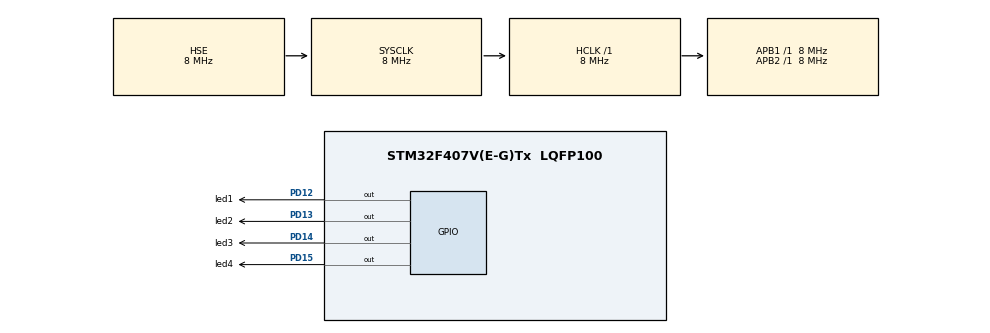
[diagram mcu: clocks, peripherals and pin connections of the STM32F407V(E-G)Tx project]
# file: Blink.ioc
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Mcu.Family=STM32F4
Mcu.Name=STM32F407V(E-G)Tx
Mcu.Package=LQFP100
NVIC.PriorityGroup=NVIC_PRIORITYGROUP_4
PA13.Mode=Serial_Wire
PA13.Signal=SYS_JTMS-SWDIO
PA14.Mode=Serial_Wire
PA14.Signal=SYS_JTCK-SWCLK
PD12.GPIO_Label=led1
PD12.Signal=GPIO_Output
PD13.GPIO_Label=led2
PD13.PinState=GPIO_PIN_RESET
PD13.Signal=GPIO_Output
PD14.GPIO_Label=led3
PD14.Signal=GPIO_Output
PD15.GPIO_Label=led4
PD15.Signal=GPIO_Output
PH0-OSC_IN.Mode=HSE-External-Oscillator
PH0-OSC_IN.Signal=RCC_OSC_IN
PH1-OSC_OUT.Mode=HSE-External-Oscillator
PH1-OSC_OUT.Signal=RCC_OSC_OUT
ProjectManager.HeapSize=0x200
ProjectManager.StackSize=0x400
ProjectManager.TargetToolchain=MDK-ARM V5.27
RCC.48MHZClocksFreq_Value=24000000
RCC.AHBFreq_Value=8000000
RCC.APB1Freq_Value=8000000
RCC.APB1TimFreq_Value=8000000
RCC.APB2Freq_Value=8000000
RCC.APB2TimFreq_Value=8000000
RCC.CortexFreq_Value=8000000
RCC.HCLKFreq_Value=8000000
RCC.HSE_VALUE=8000000
RCC.HSI_VALUE=16000000
RCC.LSE_VALUE=32768
RCC.PLLSourceVirtual=RCC_PLLSOURCE_HSE
RCC.SYSCLKFreq_VALUE=8000000
RCC.SYSCLKSource=RCC_SYSCLKSOURCE_HSE
RCC.VCOOutputFreq_Value=96000000
board=custom

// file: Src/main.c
/* USER CODE BEGIN Header */
/**
  ******************************************************************************
  * @file           : main.c
  * @brief          : Main program body
  ******************************************************************************
  * @attention
  *
  * <h2><center>&copy; Copyright (c) 2020 STMicroelectronics.
  * All rights reserved.</center></h2>
  *
  * This software component is licensed by ST under BSD 3-Clause license,
  * the "License"; You may not use this file except in compliance with the
  * License. You may obtain a copy of the License at:
  *                        opensource.org/licenses/BSD-3-Clause
  *
  ******************************************************************************
  */
/* USER CODE END Header */

#include "main.h"

void SystemClock_Config(void);
static void MX_GPIO_Init(void);

int main(void)
{

  /* MCU Configuration--------------------------------------------------------*/

  /* Reset of all peripherals, Initializes the Flash interface and the Systick. */
  HAL_Init();

  /* Configure the system clock */
  SystemClock_Config();

  /* Initialize all configured peripherals */
  MX_GPIO_Init();

  /* Infinite loop */
  while (1)
  {

    /* USER CODE BEGIN 3 */
		HAL_GPIO_WritePin(GPIOD,led1_Pin,GPIO_PIN_SET);
		HAL_Delay(500);
		HAL_GPIO_WritePin(GPIOD,led1_Pin,GPIO_PIN_RESET);
		HAL_Delay(500);
		HAL_GPIO_WritePin(GPIOD,led2_Pin,GPIO_PIN_SET);
		HAL_Delay(500);
		HAL_GPIO_WritePin(GPIOD,led2_Pin,GPIO_PIN_RESET);
		HAL_Delay(500);
		HAL_GPIO_WritePin(GPIOD,led3_Pin,GPIO_PIN_SET);
		HAL_Delay(500);
		HAL_GPIO_WritePin(GPIOD,led3_Pin,GPIO_PIN_RESET);
		HAL_Delay(500);
		HAL_GPIO_WritePin(GPIOD,led4_Pin,GPIO_PIN_SET);
		HAL_Delay(500);
		HAL_GPIO_WritePin(GPIOD,led4_Pin,GPIO_PIN_RESET);
		HAL_Delay(500);

  /* USER CODE END 3 */
}

void SystemClock_Config(void)
{
  RCC_OscInitTypeDef RCC_OscInitStruct = {0};
  RCC_ClkInitTypeDef RCC_ClkInitStruct = {0};

  /** Configure the main internal regulator output voltage
  */
  __HAL_RCC_PWR_CLK_ENABLE();
  __HAL_PWR_VOLTAGESCALING_CONFIG(PWR_REGULATOR_VOLTAGE_SCALE1);
  /** Initializes the CPU, AHB and APB busses clocks
  */
  RCC_OscInitStruct.OscillatorType = RCC_OSCILLATORTYPE_HSE;
  RCC_OscInitStruct.HSEState = RCC_HSE_ON;
  RCC_OscInitStruct.PLL.PLLState = RCC_PLL_NONE;
  if (HAL_RCC_OscConfig(&RCC_OscInitStruct) != HAL_OK)
  {
    Error_Handler();
  }
  /** Initializes the CPU, AHB and APB busses clocks
  */
  RCC_ClkInitStruct.ClockType = RCC_CLOCKTYPE_HCLK|RCC_CLOCKTYPE_SYSCLK
                              |RCC_CLOCKTYPE_PCLK1|RCC_CLOCKTYPE_PCLK2;
  RCC_ClkInitStruct.SYSCLKSource = RCC_SYSCLKSOURCE_HSE;
  RCC_ClkInitStruct.AHBCLKDivider = RCC_SYSCLK_DIV1;
  RCC_ClkInitStruct.APB1CLKDivider = RCC_HCLK_DIV1;
  RCC_ClkInitStruct.APB2CLKDivider = RCC_HCLK_DIV1;

  if (HAL_RCC_ClockConfig(&RCC_ClkInitStruct, FLASH_LATENCY_0) != HAL_OK)
  {
    Error_Handler();
  }
}

static void MX_GPIO_Init(void)
{
  GPIO_InitTypeDef GPIO_InitStruct = {0};

  /* GPIO Ports Clock Enable */
  __HAL_RCC_GPIOH_CLK_ENABLE();
  __HAL_RCC_GPIOD_CLK_ENABLE();
  __HAL_RCC_GPIOA_CLK_ENABLE();

  /*Configure GPIO pin Output Level */
  HAL_GPIO_WritePin(GPIOD, led1_Pin|led2_Pin|led3_Pin|led4_Pin, GPIO_PIN_RESET);

  /*Configure GPIO pins : led1_Pin led2_Pin led3_Pin led4_Pin */
  GPIO_InitStruct.Pin = led1_Pin|led2_Pin|led3_Pin|led4_Pin;
  GPIO_InitStruct.Mode = GPIO_MODE_OUTPUT_PP;
  GPIO_InitStruct.Pull = GPIO_NOPULL;
  GPIO_InitStruct.Speed = GPIO_SPEED_FREQ_LOW;
  HAL_GPIO_Init(GPIOD, &GPIO_InitStruct);

}

void Error_Handler(void)
{
}

/************************ (C) COPYRIGHT STMicroelectronics *****END OF FILE****/
